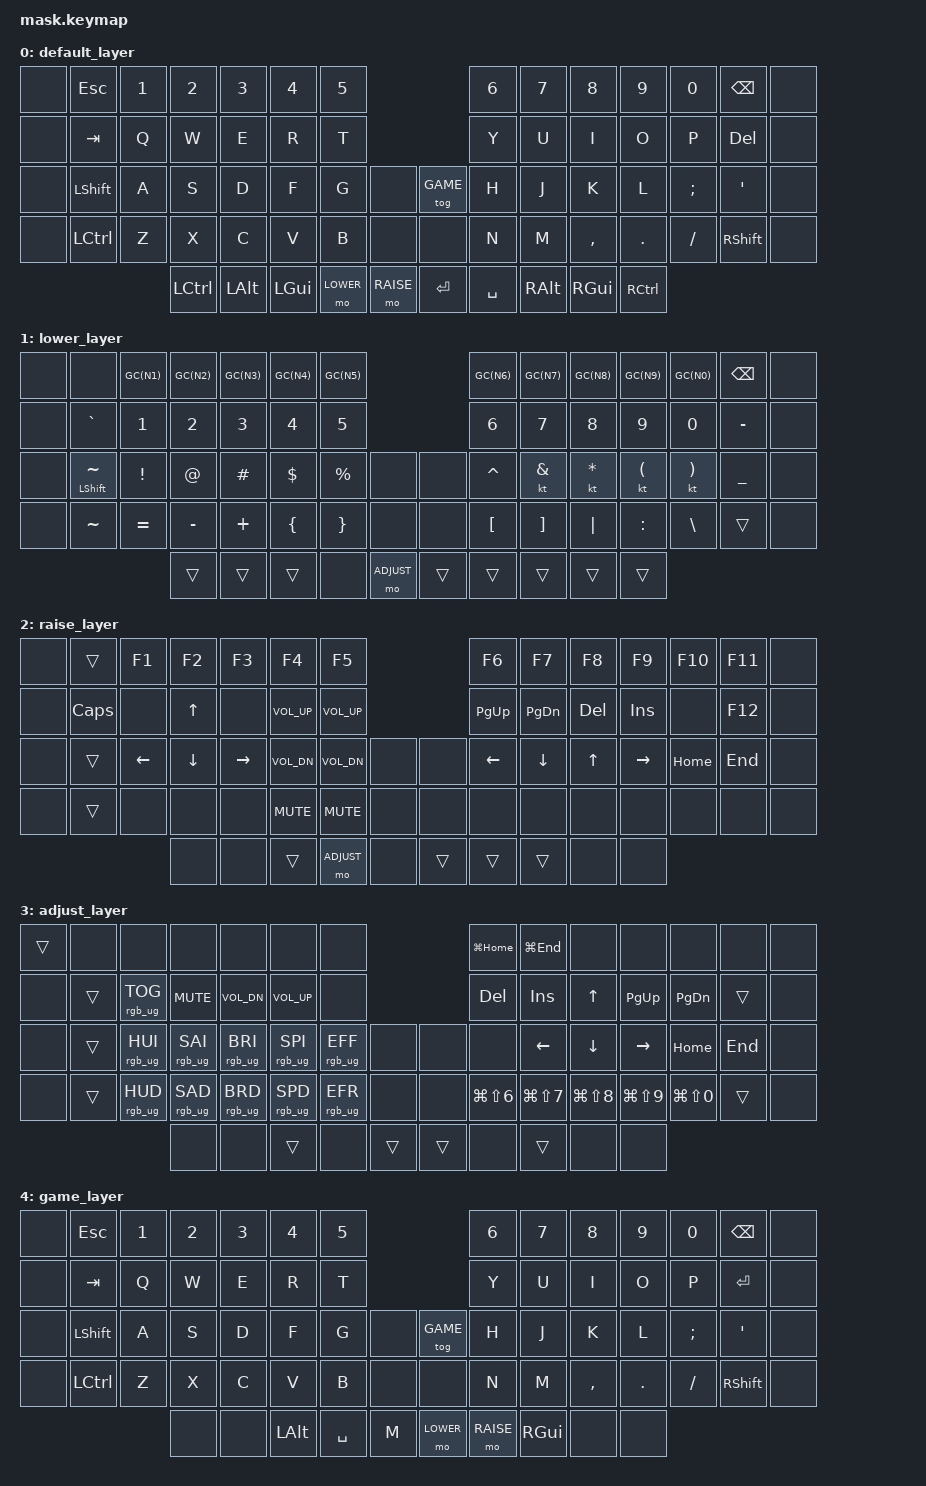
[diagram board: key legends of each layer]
/*
 * Copyright (c) 2021 Marco Sterbik
 *
 * SPDX-License-Identifier: MIT
 */

#include <behaviors.dtsi>
#include <dt-bindings/zmk/keys.h>
#include <dt-bindings/zmk/rgb.h>
#include <dt-bindings/zmk/bt.h>
#include <dt-bindings/zmk/outputs.h>


/ {

    //conditional_layers {
    //    compatible = "zmk,conditional-layers";
    //    nav_layer {
    //        if-layers = <1 2>;
    //        then-layer = <3>;
    //    };
    //};
    
#define GC(key) LG(LC(key))

    keymap {
        compatible = "zmk,keymap";

#define BASE    0
#define LOWER   1
#define RAISE   2
#define ADJUST  3
#define GAME    4

    default_layer {
            bindings = <
    &none       &kp ESC     &kp N1      &kp N2      &kp N3      &kp N4          &kp N5                                          &kp N6          &kp N7          &kp N8      &kp N9      &kp N0     &kp BSPC    &none
    &none       &kp TAB     &kp Q       &kp W       &kp E       &kp R           &kp T                                           &kp Y           &kp U           &kp I       &kp O       &kp P      &kp DEL     &none
    &none       &kp LSHFT   &kp A       &kp S       &kp D       &kp F           &kp G           &none           &tog GAME       &kp H           &kp J           &kp K       &kp L       &kp SEMI   &kp SQT     &none
    &none       &kp LCTRL   &kp Z       &kp X       &kp C       &kp V           &kp B           &none           &none           &kp N           &kp M           &kp COMMA   &kp DOT     &kp FSLH   &kp RSHFT   &none
                                        &kp LCTRL   &kp LALT    &kp LGUI        &mo LOWER       &mo RAISE       &kp ENTER       &kp SPACE       &kp RALT        &kp RGUI    &kp RCTRL
            >;
    };
    lower_layer {
        bindings = <
    &none      &none             &kp GC(N1)   &kp GC(N2)   &kp GC(N3)   &kp GC(N4)      &kp GC(N5)                                      &kp GC(N6)      &kp GC(N7)      &kp GC(N8)   &kp GC(N9)  &kp GC(N0)  &kp BSPC    &none
    &none      &kp GRAVE         &kp N1       &kp N2       &kp N3       &kp N4          &kp N5                                          &kp N6          &kp N7          &kp N8       &kp N9      &kp N0      &kp MINUS   &none
    &none      &mt LSHFT TILDE   &kp EXCL     &kp AT       &kp HASH     &kp DOLLAR      &kp PERCENT     &none           &none           &kp CARET       &kt AMPERSAND   &kt ASTERISK &kt LPAR    &kt RPAR    &kp UNDER   &none
    &none      &kp TILDE         &kp EQUAL    &kp MINUS    &kp PLUS     &kp LBRC        &kp RBRC        &none           &none           &kp LBKT        &kp RBKT        &kp PIPE     &kp COLON   &kp BSLH    &trans      &none
                                              &trans       &trans       &trans          &none           &mo ADJUST      &trans          &trans          &trans          &trans       &trans
        >;
    };


//    lower_layer {
//        bindings = <
//    &none      &trans      &kp EXCL     &kp AT       &kp HASH     &kp DOLLAR      &kp PERCENT                                     &kp CARET       &kp AMPERSAND   &kp ASTERISK &kp LPAR    &kp RPAR    &kp EQUAL   &none
//    &none      &trans      &none        &kp UP       &none        &none           &none                                           &kp GRAVE       &kp EQUAL       &kp LPAR     &kp RPAR    &kp PIPE    &kp DEL     &none
//    &none      &trans      &kp LEFT     &kp DOWN     &kp RIGHT    &none           &none           &none           &none           &kp MINUS       &kt LBRC        &kt LBKT     &kt RBKT    &kt RBRC    &kp GRAVE   &none
//    &none      &trans      &none        &none        &none        &none           &none           &none           &none           &kp UNDER       &kp PLUS        &kp LT       &kp GT      &kp BSLH    &kp TILDE   &none
//                                        &none        &none        &trans          &none           &mo ADJUST      &trans          &trans          &trans          &none        &none
//        >;
//    };

    raise_layer {
        bindings = <
    &none      &trans      &kp F1      &kp F2      &kp F3      &kp F4          &kp F5                                          &kp F6          &kp F7          &kp F8      &kp F9      &kp F10      &kp F11     &none
    &none      &kp CAPS    &none       &kp UP      &none       &kp C_VOL_UP    &kp K_VOL_UP                                    &kp PG_UP       &kp PG_DN       &kp DEL     &kp INS     &none        &kp F12     &none
    &none      &trans      &kp LEFT    &kp DOWN    &kp RIGHT   &kp C_VOL_DN    &kp K_VOL_DN    &none           &none           &kp LEFT        &kp DOWN        &kp UP      &kp RIGHT   &kp HOME     &kp END     &none
    &none      &trans      &none       &none       &none       &kp C_MUTE      &kp K_MUTE      &none           &none           &none           &none           &none       &none       &none        &none       &none
                                       &none       &none       &trans          &mo ADJUST      &none           &trans          &trans          &trans          &none       &none
        >;
    };
    adjust_layer {
        bindings = <
    &trans     &none       &none            &none           &none           &none           &none                           &kp LG(HOME)    &kp LG(END)     &none           &none           &none           &none       &none
    &none      &trans      &rgb_ug RGB_TOG  &kp K_MUTE      &kp K_VOL_DN    &kp K_VOL_UP    &none                           &kp DEL         &kp INS         &kp UP          &kp PG_UP       &kp PG_DN       &trans      &none
    &none      &trans      &rgb_ug RGB_HUI  &rgb_ug RGB_SAI &rgb_ug RGB_BRI &rgb_ug RGB_SPI &rgb_ug RGB_EFF &none   &none   &none           &kp LEFT        &kp DOWN        &kp RIGHT       &kp HOME        &kp END     &none
    &none      &trans      &rgb_ug RGB_HUD  &rgb_ug RGB_SAD &rgb_ug RGB_BRD &rgb_ug RGB_SPD &rgb_ug RGB_EFR &none   &none   &kp LG(LS(N6))  &kp LG(LS(N7))  &kp LG(LS(N8))  &kp LG(LS(N9))  &kp LG(LS(N0))  &trans      &none
                                            &none           &none           &trans          &none           &trans  &trans  &none           &trans          &none           &none
        >;
    };
    game_layer {
            bindings = <
    &none       &kp ESC     &kp N1      &kp N2      &kp N3      &kp N4          &kp N5                                          &kp N6          &kp N7          &kp N8      &kp N9      &kp N0     &kp BSPC    &none
    &none       &kp TAB     &kp Q       &kp W       &kp E       &kp R           &kp T                                           &kp Y           &kp U           &kp I       &kp O       &kp P      &kp ENTER   &none
    &none       &kp LSHFT   &kp A       &kp S       &kp D       &kp F           &kp G           &none           &tog GAME       &kp H           &kp J           &kp K       &kp L       &kp SEMI   &kp SQT     &none
    &none       &kp LCTRL   &kp Z       &kp X       &kp C       &kp V           &kp B           &none           &none           &kp N           &kp M           &kp COMMA   &kp DOT     &kp FSLH   &kp RSHFT   &none
                                        &none       &none       &kp LALT        &kp SPACE       &kp M           &mo LOWER       &mo RAISE       &kp RGUI        &none       &none
            >;
        };
    };
};
